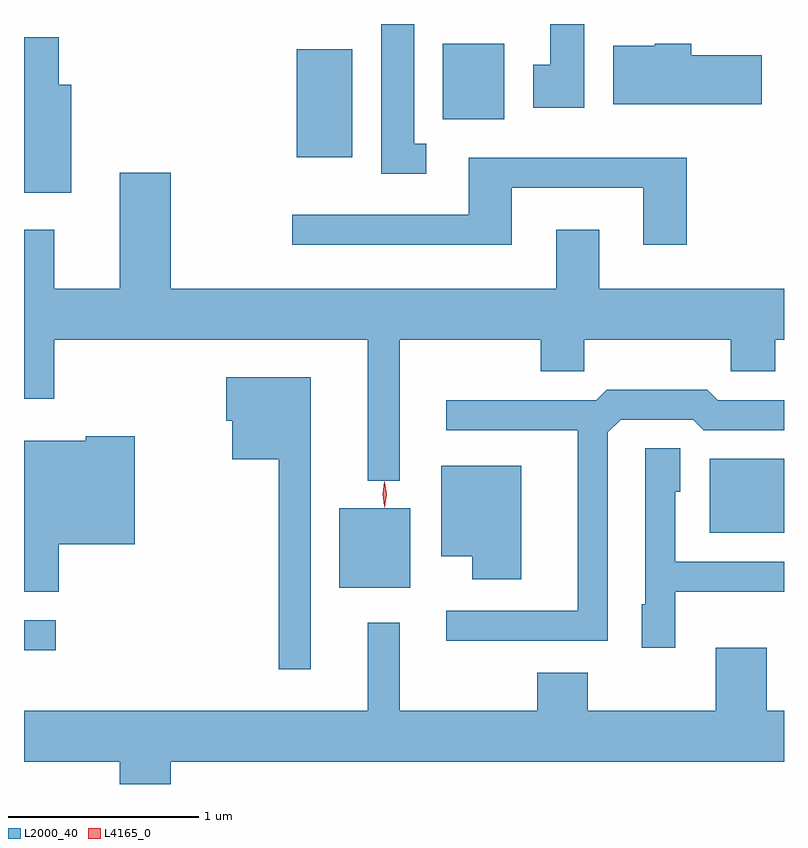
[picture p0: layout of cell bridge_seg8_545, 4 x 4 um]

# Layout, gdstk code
import gdstk
lib = gdstk.Library(unit=1e-6, precision=1e-09)
def R(c, l, rs):  # rectangles x0, y0, x1, y1
    for r in rs: c.add(gdstk.rectangle(r[:2], r[2:], *l))
def P(c, l, *ps):  # polygons
    for p in ps: c.add(gdstk.Polygon(p, *l))
L2000_40 = (2000, 40)
L4165_0 = (4165, 0)

bridge_seg8_545 = lib.new_cell('bridge_seg8_545')
R(bridge_seg8_545, L2000_40, [(554.231,1863.641,554.398,1863.799), (555.891,1863.971,556.264,1864.389), (557.841,1864.261,558.231,1864.649), (555.666,1866.236,555.959,1866.804), (556.436,1866.436,556.759,1866.834)])
P(bridge_seg8_545, L2000_40, [(557.179,1866.938),(557.001,1866.938),(557.001,1866.724),(556.911,1866.724),(556.911,1866.496),(557.179,1866.496)],
  [(556.348,1866.309),(556.284,1866.309),(556.284,1866.938),(556.111,1866.938),(556.111,1866.151),(556.348,1866.151)],
  [(554.479,1866.619),(554.414,1866.619),(554.414,1866.869),(554.231,1866.869),(554.231,1866.051),(554.479,1866.051)],
  [(558.114,1866.774),(557.744,1866.774),(557.744,1866.834),(557.55,1866.834),(557.55,1866.824),(557.331,1866.824),(557.331,1866.516),(558.114,1866.516)],
  [(556.799,1866.076),(557.491,1866.076),(557.491,1865.776),(557.719,1865.776),(557.719,1866.234),(556.571,1866.234),(556.571,1865.934),(555.643,1865.934),(555.643,1865.776),(556.799,1865.776)],
  [(556.209,1865.276),(556.951,1865.276),(556.951,1865.111),(557.179,1865.111),(557.179,1865.276),(557.951,1865.276),(557.951,1865.111),(558.184,1865.111),(558.184,1865.276),(558.231,1865.276),(558.231,1865.544),(557.259,1865.544),(557.259,1865.854),(557.031,1865.854),(557.031,1865.544),(555.004,1865.544),(555.004,1866.154),(554.736,1866.154),(554.736,1865.544),(554.389,1865.544),(554.389,1865.854),(554.231,1865.854),(554.231,1864.966),(554.389,1864.966),(554.389,1865.276),(556.041,1865.276),(556.041,1864.533),(556.209,1864.533)],
  [(555.739,1865.079),(555.296,1865.079),(555.296,1864.851),(555.326,1864.851),(555.326,1864.646),(555.571,1864.646),(555.571,1863.543),(555.739,1863.543)],
  [(557.304,1864.789),(557.372,1864.856),(557.754,1864.856),(557.809,1864.801),(558.231,1864.801),(558.231,1864.959),(557.882,1864.959),(557.827,1865.014),(557.299,1865.014),(557.244,1864.959),(556.453,1864.959),(556.453,1864.801),(557.146,1864.801),(557.146,1863.849),(556.453,1863.849),(556.453,1863.691),(557.304,1863.691)],
  [(554.414,1864.201),(554.814,1864.201),(554.814,1864.769),(554.556,1864.769),(554.556,1864.744),(554.231,1864.744),(554.231,1863.951),(554.414,1863.951)],
  [(557.659,1863.951),(558.231,1863.951),(558.231,1864.109),(557.659,1864.109),(557.659,1864.476),(557.684,1864.476),(557.684,1864.704),(557.501,1864.704),(557.501,1863.884),(557.481,1863.884),(557.481,1863.656),(557.659,1863.656)],
  [(556.849,1864.614),(556.426,1864.614),(556.426,1864.136),(556.591,1864.136),(556.591,1864.016),(556.849,1864.016)],
  [(555.004,1863.056),(558.231,1863.056),(558.231,1863.324),(558.139,1863.324),(558.139,1863.654),(557.871,1863.654),(557.871,1863.324),(557.199,1863.324),(557.199,1863.524),(556.931,1863.524),(556.931,1863.324),(556.209,1863.324),(556.209,1863.788),(556.041,1863.788),(556.041,1863.324),(554.231,1863.324),(554.231,1863.056),(554.736,1863.056),(554.736,1862.938),(555.004,1862.938)])
P(bridge_seg8_545, L4165_0, [(556.128,1864.398),(556.128,1864.399),(556.118,1864.463),(556.128,1864.527),(556.128,1864.527),(556.129,1864.527),(556.138,1864.463),(556.129,1864.399)],
  [(556.129,1864.394),(556.129,1864.394),(556.119,1864.462),(556.128,1864.53),(556.128,1864.53),(556.129,1864.53),(556.139,1864.462),(556.13,1864.394)])

lib.write_gds('bridge_seg8_545.gds')
